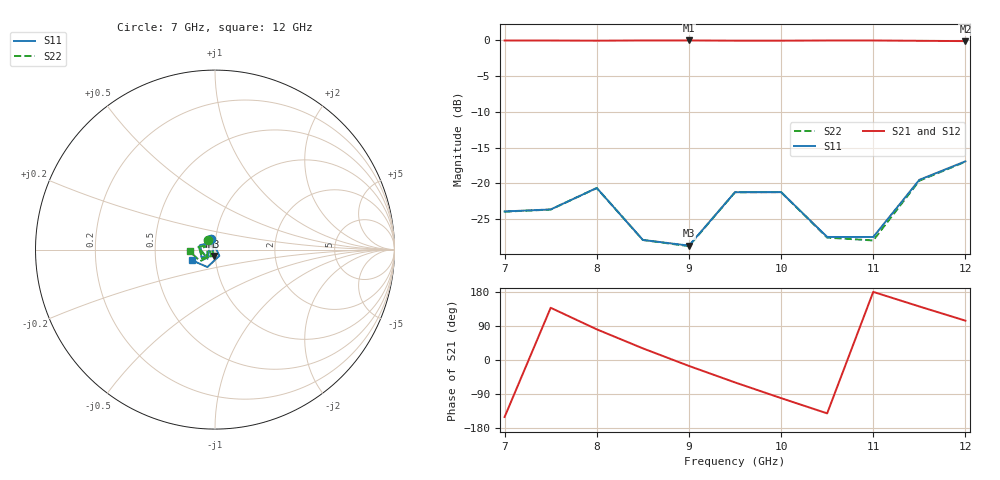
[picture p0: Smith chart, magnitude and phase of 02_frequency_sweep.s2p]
! Touchstone file generated by VectorEM
! Number of ports: 2
# Hz S RI R 50
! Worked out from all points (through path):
!   11 points, 7 GHz to 12 GHz, reference 50 ohm
!   highest |S21| = -0.02 dB at 9 GHz (marker M1); lowest = -0.1 dB at 12 GHz (marker M2)
!   lowest |S11| = -28.7 dB at 9 GHz (marker M3), VSWR 1.08, Z = 49.2 - j3.55 ohm
!   |S11| at or under -10 dB: start of sweep to end of sweep
!   |S22| runs from -28.8 to -17.0 dB; largest |S21 - S12| = 2.1e-08
7e9  -0.0231 0.0594  -0.8662 -0.4937  -0.8662 -0.4937  -0.038 0.0509
7.5e9  -0.0417 -0.0509  -0.7383 0.6694  -0.7383 0.6694  -0.0451 -0.0477
8e9  -0.0915 0.0164  0.1569 0.9817  0.1569 0.9817  -0.092 0.013
8.5e9  -0.017 0.0366  0.8576 0.5097  0.8576 0.5097  -0.0222 0.0336
9e9  -0.00718 -0.0361  0.9607 -0.2694  0.9607 -0.2694  -0.00958 -0.0352
9.5e9  -0.0756 -0.0428  0.5096 -0.8539  0.5096 -0.8539  -0.0722 -0.0482
1e10  -0.0832 0.0251  -0.1832 -0.9772  -0.1832 -0.9772  -0.0868 0.00637
1.05e10  -0.0108 0.0409  -0.7732 -0.6296  -0.7732 -0.6296  -0.0366 0.0202
1.1e10  0.0242 -0.0346  -0.9971 0.00406  -0.9971 0.00406  -0.0211 -0.034
1.15e10  -0.0422 -0.0972  -0.7744 0.6202  -0.7744 0.6202  -0.0824 -0.0642
1.2e10  -0.1298 -0.0592  -0.2356 0.9587  -0.2356 0.9587  -0.1414 -0.0102
